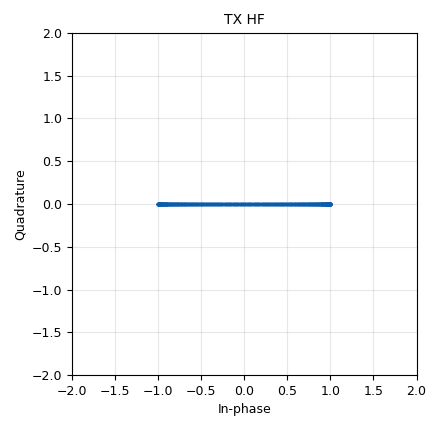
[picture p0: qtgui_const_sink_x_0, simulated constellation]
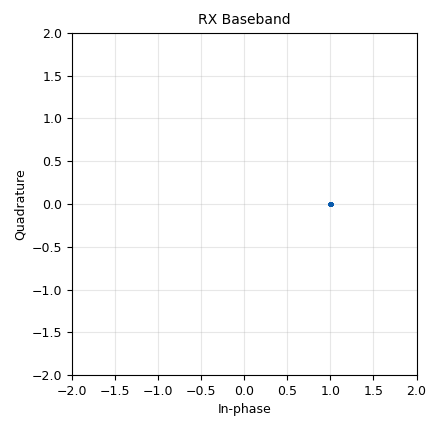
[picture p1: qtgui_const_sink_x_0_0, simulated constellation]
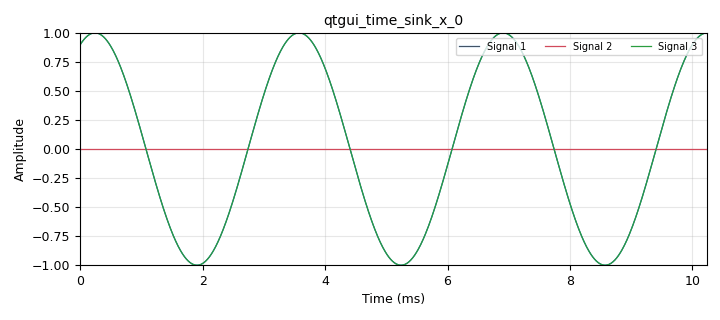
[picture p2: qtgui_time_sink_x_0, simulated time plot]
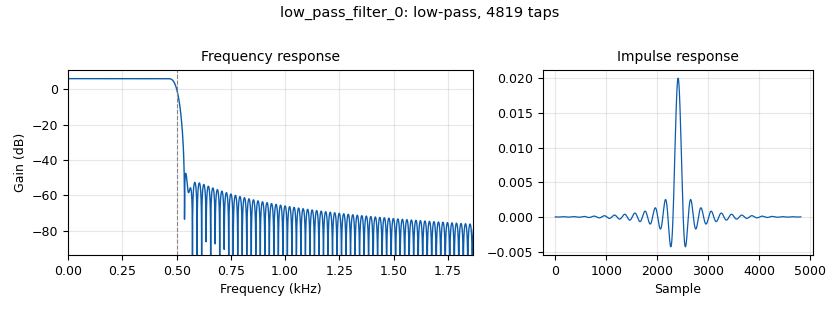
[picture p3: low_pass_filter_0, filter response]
options:
  parameters:
    generate_options: qt_gui
    id: GettingComplex_Quad
    output_language: python
    title: Quad Detail
  states: {}

blocks:
- name: I
  id: variable_qtgui_range
  parameters:
    gui_hint: 0, 0, 1, 1
    outputmsgname: value
    showports: 'False'
    start: '-1'
    step: '10e-3'
    stop: '1'
    value: '1'
  states: {}
- name: Q
  id: variable_qtgui_range
  parameters:
    gui_hint: 0, 1, 1, 1
    outputmsgname: value
    showports: 'False'
    start: '-1'
    step: '10e-3'
    stop: '1'
    value: '0'
  states: {}
- name: freq
  id: variable_qtgui_range
  parameters:
    gui_hint: 3, 0, 1, 2
    outputmsgname: value
    showports: 'False'
    start: '-300'
    step: '100e-3'
    stop: '300'
    value: '300'
    widget: counter
  states: {}
- name: samp_rate
  id: variable
  parameters:
    value: 100e3
  states: {}
- name: analog_sig_source_x_0
  id: analog_sig_source_x
  parameters:
    amp: '1'
    comment: carrier 1
    freq: freq
    offset: '0'
    phase: '0'
    samp_rate: samp_rate
    type: float
    waveform: analog.GR_COS_WAVE
  states: {}
- name: analog_sig_source_x_0_0
  id: analog_sig_source_x
  parameters:
    amp: '1'
    comment: carrier 2
    freq: freq
    offset: '0'
    phase: '0'
    samp_rate: samp_rate
    type: float
    waveform: analog.GR_SIN_WAVE
  states: {}
- name: analog_sig_source_x_1
  id: analog_sig_source_x
  parameters:
    amp: I
    freq: '1000'
    offset: '0'
    phase: '0'
    samp_rate: samp_rate
    type: float
    waveform: analog.GR_CONST_WAVE
  states: {}
- name: analog_sig_source_x_1_0
  id: analog_sig_source_x
  parameters:
    amp: Q
    freq: '1000'
    offset: '0'
    phase: '0'
    samp_rate: samp_rate
    type: float
    waveform: analog.GR_CONST_WAVE
  states: {}
- name: blocks_add_xx_0
  id: blocks_add_xx
  parameters:
    type: float
  states: {}
- name: blocks_float_to_complex_0
  id: blocks_float_to_complex
  parameters: {}
  states: {}
- name: blocks_float_to_complex_0_0
  id: blocks_float_to_complex
  parameters: {}
  states: {}
- name: blocks_multiply_xx_0
  id: blocks_multiply_xx
  parameters:
    comment: up mixing
    type: float
  states: {}
- name: blocks_multiply_xx_0_0
  id: blocks_multiply_xx
  parameters:
    type: float
  states: {}
- name: blocks_multiply_xx_0_0_0
  id: blocks_multiply_xx
  parameters:
    comment: down mixing
    type: float
  states: {}
- name: blocks_multiply_xx_0_0_0_0
  id: blocks_multiply_xx
  parameters:
    type: float
  states: {}
- name: blocks_throttle_0
  id: blocks_throttle
  parameters:
    samples_per_second: samp_rate
    type: float
  states: {}
- name: low_pass_filter_0
  id: low_pass_filter
  parameters:
    cutoff_freq: '500'
    decim: '1'
    gain: '2'
    samp_rate: samp_rate
    type: fir_filter_fff
    width: '50'
    win: window.WIN_HAMMING
  states: {}
- name: low_pass_filter_0_0
  id: low_pass_filter
  parameters:
    cutoff_freq: '500'
    decim: '1'
    gain: '2'
    samp_rate: samp_rate
    type: fir_filter_fff
    width: '50'
    win: window.WIN_HAMMING
  states: {}
- name: qtgui_const_sink_x_0
  id: qtgui_const_sink_x
  parameters:
    gui_hint: 2, 0, 1, 1
    name: TX HF
    size: '1024'
    type: complex
  states: {}
- name: qtgui_const_sink_x_0_0
  id: qtgui_const_sink_x
  parameters:
    gui_hint: 2,1, 1, 1
    name: RX Baseband
    size: '1024'
    type: complex
  states: {}
- name: qtgui_time_sink_x_0
  id: qtgui_time_sink_x
  parameters:
    gui_hint: 1,0, 1, 2
    nconnections: '3'
    size: '1024'
    srate: samp_rate
    type: float
  states: {}
- name: virtual_sink_0
  id: virtual_sink
  parameters:
    stream_id: carrier_cos
  states: {}
- name: virtual_sink_1
  id: virtual_sink
  parameters:
    stream_id: carrier_sin
  states: {}
- name: virtual_sink_1_0
  id: virtual_sink
  parameters:
    comment: transmitter
    stream_id: antenna
  states: {}
- name: virtual_source_0
  id: virtual_source
  parameters:
    stream_id: carrier_cos
  states: {}
- name: virtual_source_0_0
  id: virtual_source
  parameters:
    stream_id: carrier_sin
  states: {}
- name: virtual_source_0_0_0
  id: virtual_source
  parameters:
    stream_id: carrier_sin
  states: {}
- name: virtual_source_0_0_0_0
  id: virtual_source
  parameters:
    stream_id: antenna
  states: {}
- name: virtual_source_0_1
  id: virtual_source
  parameters:
    stream_id: carrier_cos
  states: {}

connections:
- [analog_sig_source_x_0, '0', virtual_sink_0, '0']
- [analog_sig_source_x_0_0, '0', virtual_sink_1, '0']
- [analog_sig_source_x_1, '0', blocks_multiply_xx_0, '0']
- [analog_sig_source_x_1_0, '0', blocks_multiply_xx_0_0, '0']
- [blocks_add_xx_0, '0', blocks_throttle_0, '0']
- [blocks_add_xx_0, '0', qtgui_time_sink_x_0, '2']
- [blocks_float_to_complex_0, '0', qtgui_const_sink_x_0, '0']
- [blocks_float_to_complex_0_0, '0', qtgui_const_sink_x_0_0, '0']
- [blocks_multiply_xx_0, '0', blocks_add_xx_0, '0']
- [blocks_multiply_xx_0, '0', blocks_float_to_complex_0, '0']
- [blocks_multiply_xx_0, '0', qtgui_time_sink_x_0, '0']
- [blocks_multiply_xx_0_0, '0', blocks_add_xx_0, '1']
- [blocks_multiply_xx_0_0, '0', blocks_float_to_complex_0, '1']
- [blocks_multiply_xx_0_0, '0', qtgui_time_sink_x_0, '1']
- [blocks_multiply_xx_0_0_0, '0', low_pass_filter_0, '0']
- [blocks_multiply_xx_0_0_0_0, '0', low_pass_filter_0_0, '0']
- [blocks_throttle_0, '0', virtual_sink_1_0, '0']
- [low_pass_filter_0, '0', blocks_float_to_complex_0_0, '0']
- [low_pass_filter_0_0, '0', blocks_float_to_complex_0_0, '1']
- [virtual_source_0, '0', blocks_multiply_xx_0, '1']
- [virtual_source_0_0, '0', blocks_multiply_xx_0_0, '1']
- [virtual_source_0_0_0, '0', blocks_multiply_xx_0_0_0_0, '1']
- [virtual_source_0_0_0_0, '0', blocks_multiply_xx_0_0_0, '1']
- [virtual_source_0_0_0_0, '0', blocks_multiply_xx_0_0_0_0, '0']
- [virtual_source_0_1, '0', blocks_multiply_xx_0_0_0, '0']

metadata:
  file_format: 1
  grc_version: 3.10.4.0
